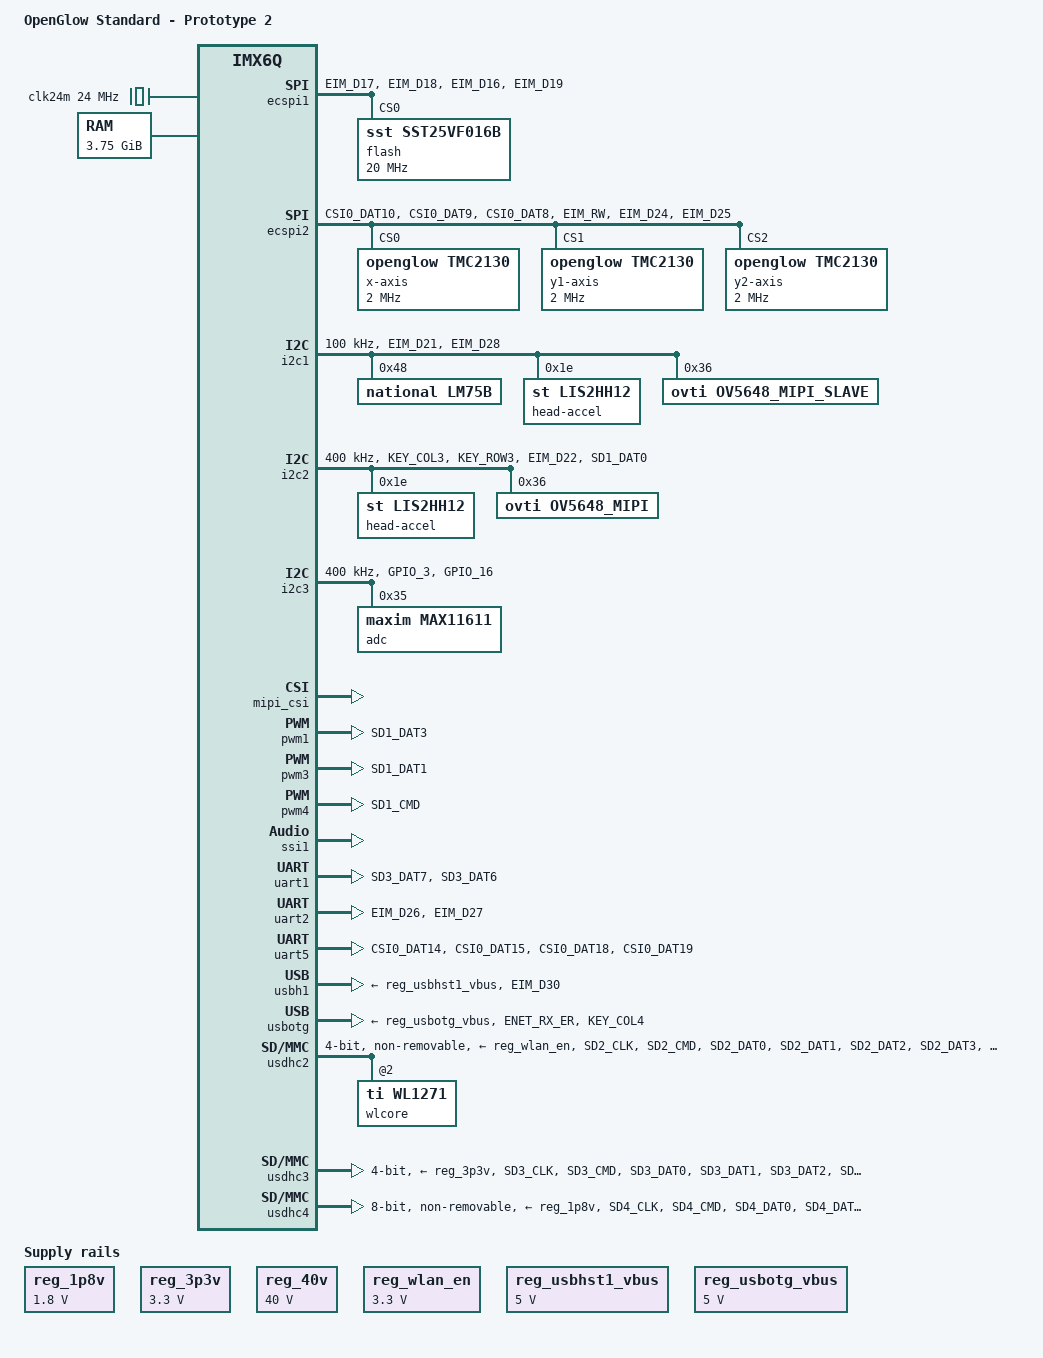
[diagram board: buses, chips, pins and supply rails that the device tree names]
/*
 * Copyright 2018 Scott Wiederhold <s.e.wiederhold@gmail.com>
 * Copyright 2012 Freescale Semiconductor, Inc.
 * Copyright 2011 Linaro Ltd.
 *
 * The code contained herein is licensed under the GNU General Public
 * License. You may obtain a copy of the GNU General Public License
 * Version 2 or later at the following locations:
 *
 * http://www.opensource.org/licenses/gpl-license.html
 * http://www.gnu.org/copyleft/gpl.html
 */

 /* PAD Control Definitions
  *
  * Be sure to check IMX6 DQ Reference Manual to verify each
  * PADs actual capability (i.e. GPIO00 - See Ch 36.4.376).
  * PAD Operating frequency is dependent on many factors (See Ch 28.4.2.3)
  *
  * For a better explanation, see Freescale AN5078
  * http://cache.freescale.com/files/32bit/doc/app_note/AN5078.pdf
  */
 /* Hysteresis */
 #define HYS            (1 << 16) /* OFF: CMOS Input, ON: Schmitt trigger Input */
 /* Pull Up/Keeper Mode Select */
 #define PUE            (1 << 13) /* OFF: Keeper, ON: Pull Up */
 /* Pull Up/Down - Value */
 #define PUS_22K_UP     (3 << 14)
 #define PUS_47K_UP     (1 << 14)
 #define PUS_100K_UP    (2 << 14)
 #define PUS_100K_DOWN  (0 << 14) /* Default */
 /* Pull Up/Keeper - Enable */
 #define PKE            (1 << 12) /* OFF: Disabled, ON: Enabled */
 /* Open Drain Enable */
 #define ODE            (1 << 11) /* OFF: CMOS output, ON: Open Drain */
 /* Speed - The range of this capability is PAD specific */
 #define SPEED_LOW      (0 << 6)
 #define SPEED_MED_LOW  (1 << 6)
 #define SPEED_MED_HIGH (2 << 6)
 #define SPEED_HIGH     (3 << 6)
 /* Drive Strength */
 #define DSE_DISABLE    (0 << 3) /* Default - HI-Z */
 #define DSE_33ohm      (7 << 3)
 #define DSE_40ohm      (6 << 3)
 #define DSE_50ohm      (5 << 3)
 #define DSE_60ohm      (4 << 3)
 #define DSE_90ohm      (3 << 3)
 #define DSE_130ohm     (2 << 3)
 #define DSE_260ohm     (1 << 3)
 /* Slew Rate */
 #define SRE_SLOW       (0 << 0) /* Default */
 #define SRE_FAST       (1 << 0)
 /* SION - Software Input On Field */
 #define SION       (1 << 30)

/dts-v1/;

#include <dt-bindings/gpio/gpio.h>
#include <dt-bindings/input/input.h>
#include "imx6q.dtsi"

/ {
	model = "OpenGlow Standard - Prototype 2";
	compatible = "openglow,openglow_std", "fsl,imx6q";
};

&iomuxc {
	pinctrl-names = "default";
	pinctrl-0 = <&pinctrl_hog>;

    openglow_std {
        pinctrl_hog: hog {
            fsl,pins = <
#define TP01_GPIO3_IO20     <&gpio3 20 GPIO_ACTIVE_HIGH>
                MX6QDL_PAD_EIM_D20__GPIO3_IO20     (HYS | PUE | PKE | PUS_100K_UP| SPEED_MED_HIGH | DSE_40ohm)
#define TP02_GPIO3_IO05     <&gpio3 5 GPIO_ACTIVE_HIGH>
                MX6QDL_PAD_EIM_DA5__GPIO3_IO05     (HYS | PUE | PKE | PUS_100K_UP| SPEED_MED_HIGH | DSE_40ohm)
#define TP03_GPIO3_IO03     <&gpio3 3 GPIO_ACTIVE_HIGH>
                MX6QDL_PAD_EIM_DA3__GPIO3_IO03     (HYS | PUE | PKE | PUS_100K_UP| SPEED_MED_HIGH | DSE_40ohm)
#define TP04_GPIO3_IO01     <&gpio3 1 GPIO_ACTIVE_HIGH>
                MX6QDL_PAD_EIM_DA1__GPIO3_IO01     (HYS | PUE | PKE | PUS_100K_UP| SPEED_MED_HIGH | DSE_40ohm)
#define TP05_GPIO2_IO25     <&gpio2 25 GPIO_ACTIVE_HIGH>
                MX6QDL_PAD_EIM_OE__GPIO2_IO25      (HYS | PUE | PKE | PUS_100K_UP| SPEED_MED_HIGH | DSE_40ohm)
#define TP06_GPIO2_IO04     <&gpio2 4 GPIO_ACTIVE_HIGH>
                MX6QDL_PAD_NANDF_D4__GPIO2_IO04    (HYS | PUE | PKE | PUS_100K_UP| SPEED_MED_HIGH | DSE_40ohm)
#define TP07_GPIO3_IO11     <&gpio3 11 GPIO_ACTIVE_HIGH>
                MX6QDL_PAD_EIM_DA11__GPIO3_IO11    (HYS | PUE | PKE | PUS_100K_UP| SPEED_MED_HIGH | DSE_40ohm)
#define TP08_GPIO3_IO10     <&gpio3 10 GPIO_ACTIVE_HIGH>
                MX6QDL_PAD_EIM_DA10__GPIO3_IO10    (HYS | PUE | PKE | PUS_100K_UP| SPEED_MED_HIGH | DSE_40ohm)
#define TP09_GPIO2_IO07     <&gpio2 7 GPIO_ACTIVE_HIGH>
                MX6QDL_PAD_NANDF_D7__GPIO2_IO07    (HYS | PUE | PKE | PUS_100K_UP| SPEED_MED_HIGH | DSE_40ohm)
#define TP10_GPIO3_IO09     <&gpio3 9 GPIO_ACTIVE_HIGH>
                MX6QDL_PAD_EIM_DA9__GPIO3_IO09     (HYS | PUE | PKE | PUS_100K_UP| SPEED_MED_HIGH | DSE_40ohm)
#define TP11_GPIO5_IO23     <&gpio5 23 GPIO_ACTIVE_HIGH>
                MX6QDL_PAD_CSI0_DAT5__GPIO5_IO23    (HYS | PUE | PKE | PUS_100K_UP| SPEED_MED_HIGH | DSE_40ohm)
            >;
        };

        pinctrl_bt_rfkill: bt-rfkillgrp {
            fsl,pins = <
#define BT_EN               <&gpio5 19 GPIO_ACTIVE_LOW>
                MX6QDL_PAD_CSI0_MCLK__GPIO5_IO19    (PUE | PKE | SPEED_MED_HIGH | DSE_40ohm)
            >;
        };

        /* SOM on-board Serial Flash */
        pinctrl_ecspi1: ecspi1grp {
            fsl,pins = <
                MX6QDL_PAD_EIM_D17__ECSPI1_MISO     (HYS | SPEED_MED_HIGH | DSE_40ohm | SRE_FAST)
                MX6QDL_PAD_EIM_D18__ECSPI1_MOSI     (HYS | SPEED_MED_HIGH | DSE_40ohm | SRE_FAST)
                MX6QDL_PAD_EIM_D16__ECSPI1_SCLK     (SPEED_MED_HIGH | DSE_40ohm | SRE_FAST)
#define ECSPI1_CS           <&gpio3 19 GPIO_ACTIVE_LOW>
                MX6QDL_PAD_EIM_D19__GPIO3_IO19      (PUS_100K_UP | PUE | PKE | SPEED_MED_HIGH | DSE_40ohm | SRE_FAST)
            >;
        };

        /* Stepper Drivers SPI Bus */
        pinctrl_ecspi2: ecspi2grp {
            fsl,pins = <
                MX6QDL_PAD_CSI0_DAT10__ECSPI2_MISO  (HYS | SPEED_MED_HIGH | DSE_40ohm | SRE_FAST)
                MX6QDL_PAD_CSI0_DAT9__ECSPI2_MOSI   (HYS | SPEED_MED_HIGH | DSE_40ohm | SRE_FAST)
                MX6QDL_PAD_CSI0_DAT8__ECSPI2_SCLK   (SPEED_MED_HIGH | DSE_40ohm | SRE_FAST)
#define ESPI2_SS0           <&gpio2 26 GPIO_ACTIVE_LOW> /* X-Stepper */
                MX6QDL_PAD_EIM_RW__GPIO2_IO26       (PUS_100K_UP | PUE | PKE | SPEED_MED_HIGH | DSE_40ohm | SRE_FAST)
#define ESPI2_SS2           <&gpio3 24 GPIO_ACTIVE_LOW> /* Y1-Stepper */
                MX6QDL_PAD_EIM_D24__GPIO3_IO24      (PUS_100K_UP | PUE | PKE | SPEED_MED_HIGH | DSE_40ohm | SRE_FAST)
#define ESPI2_SS3           <&gpio3 25 GPIO_ACTIVE_LOW> /* Y2-Stepper */
                MX6QDL_PAD_EIM_D25__GPIO3_IO25      (PUS_100K_UP | PUE | PKE | SPEED_MED_HIGH | DSE_40ohm | SRE_FAST)
            >;
        };

        /* GPIO - Aux I/O */
        pinctrl_gpio_aux: gpio-auxgrp {
            fsl,pins = <
#define AUXIO_1             <&gpio4 11 GPIO_ACTIVE_HIGH> /* AUX_IO01 */
                MX6QDL_PAD_KEY_ROW2__GPIO4_IO11    (HYS | PUE | PKE | PUS_100K_UP| SPEED_MED_HIGH | DSE_40ohm)
#define AUXIO_2             <&gpio3 12 GPIO_ACTIVE_HIGH> /* AUX_IO02 */
                MX6QDL_PAD_EIM_DA12__GPIO3_IO12    (HYS | PUE | PKE | PUS_100K_UP| SPEED_MED_HIGH | DSE_40ohm)
#define AUXIO_3             <&gpio1 1 GPIO_ACTIVE_HIGH> /* AUX_IO03 */
                MX6QDL_PAD_GPIO_1__GPIO1_IO01    (HYS | PUE | PKE | PUS_100K_UP| SPEED_MED_HIGH | DSE_40ohm)
#define AUXIO_4             <&gpio5 24 GPIO_ACTIVE_HIGH> /* AUX_IO04 */
                MX6QDL_PAD_CSI0_DAT6__GPIO5_IO24   (HYS | PUE | PKE | PUS_100K_UP| SPEED_MED_HIGH | DSE_40ohm)
#define AUXIO_5             <&gpio5 25 GPIO_ACTIVE_HIGH> /* AUX_IO05 */
                MX6QDL_PAD_CSI0_DAT7__GPIO5_IO25   (HYS | PUE | PKE | PUS_100K_UP| SPEED_MED_HIGH | DSE_40ohm)
#define AUXIO_6             <&gpio5 29 GPIO_ACTIVE_HIGH> /* AUX_IO06 */
                MX6QDL_PAD_CSI0_DAT11__GPIO5_IO29  (HYS | PUE | PKE | PUS_100K_UP| SPEED_MED_HIGH | DSE_40ohm)
#define AUXIO_7             <&gpio1 9 GPIO_ACTIVE_HIGH>  /* AUX_IO07 */
                MX6QDL_PAD_GPIO_9__GPIO1_IO09  (HYS | PUE | PKE | PUS_100K_UP| SPEED_MED_HIGH | DSE_40ohm)
#define AUXIO_8             <&gpio7 13 GPIO_ACTIVE_HIGH>  /* AUX_IO08 */
                MX6QDL_PAD_GPIO_18__GPIO7_IO13  (HYS | PUE | PKE | PUS_100K_UP| SPEED_MED_HIGH | DSE_40ohm)
            >;
        };

        /* OPENGLOW - CNC */
        pinctrl_cnc: gpio-cncgrp {
            fsl,pins = <
#define FIRE            <&gpio7 12 GPIO_ACTIVE_HIGH> /* FIRE LASER - OUT */
                MX6QDL_PAD_GPIO_17__GPIO7_IO12      (PUS_100K_UP | PUE | PKE | SPEED_MED_HIGH | DSE_40ohm | SRE_FAST)
#define BEAM_DET_EN     <&gpio7 0 GPIO_ACTIVE_HIGH>  /* LASER ON HEAD NOTIFICATION - OUT */
                MX6QDL_PAD_SD3_DAT5__GPIO7_IO00     (PUS_100K_UP | PUE | PKE | SPEED_MED_HIGH | DSE_40ohm | SRE_FAST)
#define HV_WDOG         <&gpio3 0 GPIO_ACTIVE_HIGH>  /* LASER PWR WATCH DOG */
                MX6QDL_PAD_EIM_DA0__GPIO3_IO00      (PUS_100K_UP | PUE | PKE | SPEED_MED_HIGH | DSE_40ohm | SRE_FAST)
#define HV_OK           <&gpio2 1 GPIO_ACTIVE_HIGH>  /* HV_OK - IN */
                MX6QDL_PAD_NANDF_D1__GPIO2_IO01    (HYS | SPEED_MED_HIGH | DSE_40ohm)
#define INTERLOCK       <&gpio3 7 GPIO_ACTIVE_HIGH>  /* INTERLOCK - IN */
                MX6QDL_PAD_EIM_DA7__GPIO3_IO07     (HYS | SPEED_MED_HIGH | DSE_40ohm)
#define LID_SW1         <&gpio3 4 GPIO_ACTIVE_HIGH>  /* LID_SW1 - IN */
                MX6QDL_PAD_EIM_DA4__GPIO3_IO04     (HYS | SPEED_MED_HIGH | DSE_40ohm)
#define LID_SW2         <&gpio3 31 GPIO_ACTIVE_HIGH> /* LID_SW2 - IN */
                MX6QDL_PAD_EIM_D31__GPIO3_IO31     (HYS | SPEED_MED_HIGH | DSE_40ohm)
#define nBUTTON         <&gpio3 8 GPIO_ACTIVE_LOW>  /* BUTTON - IN */
                MX6QDL_PAD_EIM_DA8__GPIO3_IO08     (HYS | SPEED_MED_HIGH | DSE_40ohm)
#define nSTEP_EN        <&gpio5 30 GPIO_ACTIVE_LOW>  /* XY_STEP_EN - OUT */
                MX6QDL_PAD_CSI0_DAT12__GPIO5_IO30   (PUS_100K_UP | PUE | PKE | SPEED_MED_HIGH | DSE_40ohm)
#define OK_2_FIRE       <&gpio3 29 GPIO_ACTIVE_HIGH> /* OK_2_FIRE - IN */
                MX6QDL_PAD_EIM_D29__GPIO3_IO29     (HYS | SPEED_MED_HIGH | DSE_40ohm)
#define X_DIR           <&gpio6 14 GPIO_ACTIVE_HIGH> /* X_DIR - OUT */
                MX6QDL_PAD_NANDF_CS1__GPIO6_IO14    (PUS_100K_UP | PUE | PKE | SPEED_MED_HIGH | DSE_40ohm | SRE_FAST)
#define X_STEP          <&gpio6 15 GPIO_ACTIVE_HIGH> /* X_STEP - OUT */
                MX6QDL_PAD_NANDF_CS2__GPIO6_IO15    (PUS_100K_UP | PUE | PKE | SPEED_MED_HIGH | DSE_40ohm | SRE_FAST)
#define X_DIAG0         <&gpio5 22 GPIO_ACTIVE_HIGH> /* X_DIAG0 - IN */
                MX6QDL_PAD_CSI0_DAT4__GPIO5_IO22    (PUS_47K_UP | PUE | PKE | SPEED_MED_HIGH | DSE_40ohm | SRE_FAST)
#define X_DIAG1         <&gpio5 21 GPIO_ACTIVE_HIGH> /* X_DIAG1 - IN */
                MX6QDL_PAD_CSI0_VSYNC__GPIO5_IO21   (PUS_47K_UP | PUE | PKE | SPEED_MED_HIGH | DSE_40ohm | SRE_FAST)
#define Y1_DIR          <&gpio6 2 GPIO_ACTIVE_HIGH>  /* Y1_DIR - OUT */
                MX6QDL_PAD_CSI0_DAT16__GPIO6_IO02   (PUS_100K_UP | PUE | PKE | SPEED_MED_HIGH | DSE_40ohm | SRE_FAST)
#define Y1_STEP         <&gpio6 3 GPIO_ACTIVE_HIGH>  /* Y1_STEP - OUT */
                MX6QDL_PAD_CSI0_DAT17__GPIO6_IO03   (PUS_100K_UP | PUE | PKE | SPEED_MED_HIGH | DSE_40ohm | SRE_FAST)
#define Y1_DIAG0        <&gpio4 5 GPIO_ACTIVE_HIGH>  /* Y1_DIAG0 - IN */
                MX6QDL_PAD_GPIO_19__GPIO4_IO05      (PUS_47K_UP | PUE | PKE | SPEED_MED_HIGH | DSE_40ohm | SRE_FAST)
#define Y1_DIAG1        <&gpio1 5 GPIO_ACTIVE_HIGH>  /* Y1_DIAG1 - IN */
                MX6QDL_PAD_GPIO_5__GPIO1_IO05       (PUS_47K_UP | PUE | PKE | SPEED_MED_HIGH | DSE_40ohm | SRE_FAST)
#define Y2_DIR          <&gpio6 7 GPIO_ACTIVE_HIGH>  /* Y2_DIR - OUT */
                MX6QDL_PAD_NANDF_CLE__GPIO6_IO07    (PUS_100K_UP | PUE | PKE | SPEED_MED_HIGH | DSE_40ohm | SRE_FAST)
#define Y2_STEP         <&gpio6 9 GPIO_ACTIVE_HIGH>  /* Y2_STEP - OUT */
                MX6QDL_PAD_NANDF_WP_B__GPIO6_IO09   (PUS_100K_UP | PUE | PKE | SPEED_MED_HIGH | DSE_40ohm | SRE_FAST)
#define Y2_DIAG0        <&gpio5 18 GPIO_ACTIVE_HIGH> /* Y2_DIAG0 - IN */
                MX6QDL_PAD_CSI0_PIXCLK__GPIO5_IO18  (PUS_47K_UP | PUE | PKE | SPEED_MED_HIGH | DSE_40ohm | SRE_FAST)
#define Y2_DIAG1        <&gpio5 31 GPIO_ACTIVE_HIGH> /* Y2_DIAG1 - IN */
                MX6QDL_PAD_CSI0_DAT13__GPIO5_IO31   (PUS_47K_UP | PUE | PKE | SPEED_MED_HIGH | DSE_40ohm | SRE_FAST)
#define Z_DIR           <&gpio6 16 GPIO_ACTIVE_HIGH> /* Z_DIR - OUT */
                MX6QDL_PAD_NANDF_CS3__GPIO6_IO16    (PUS_100K_UP | PUE | PKE | SPEED_MED_HIGH | DSE_40ohm | SRE_FAST)
#define Z_STEP          <&gpio6 11 GPIO_ACTIVE_HIGH> /* Z_STEP - OUT */
                MX6QDL_PAD_NANDF_CS0__GPIO6_IO11    (PUS_100K_UP | PUE | PKE | SPEED_MED_HIGH | DSE_40ohm | SRE_FAST)
            >;
        };

        /* GPIO - Power */
        pinctrl_gpio_power: gpio-powergrp {
            fsl,pins = <
#define PWR_12VDC_EN        <&gpio2 2 GPIO_ACTIVE_HIGH> /* 12VDC_EN - OUT */
                MX6QDL_PAD_NANDF_D2__GPIO2_IO02    (PUS_100K_UP | PUE | PKE | SPEED_MED_HIGH | DSE_40ohm)
#define PWR_12VDC_OK        <&gpio2 3 GPIO_ACTIVE_HIGH> /* 12VDC_OK - IN */
                MX6QDL_PAD_NANDF_D3__GPIO2_IO03      (HYS | PUE | PKE)
            >;
        };

        /* GPIO - Power 40 V */
        pinctrl_gpio_power_40v: gpio-power40vgrp {
            fsl,pins = <
#define PWR_40VDC_EN        <&gpio3 2 GPIO_ACTIVE_HIGH> /* 40VDC_EN - OUT */
                MX6QDL_PAD_EIM_DA2__GPIO3_IO02    (PUS_100K_UP | PUE | PKE | SPEED_MED_HIGH | DSE_40ohm)
#define PWR_40VDC_OK        <&gpio2 6 GPIO_ACTIVE_HIGH> /* 40VDC_OK - IN */
                MX6QDL_PAD_NANDF_D6__GPIO2_IO06      (HYS | PUE | PKE)
            >;
        };

        /* GPIO - Thermal */
        pinctrl_gpio_thermal: gpio-thermalgrp {
            fsl,pins = <
#define TEC_EN  <&gpio2 23 GPIO_ACTIVE_HIGH> /* TEC_EN - OUT */
                MX6QDL_PAD_EIM_CS0__GPIO2_IO23     (SION | PUS_100K_UP | PUE | PKE | SPEED_MED_HIGH | DSE_40ohm)
#define WATER_PUMP_EN   <&gpio3 23 GPIO_ACTIVE_HIGH> /* WTR_PMP_EN - OUT */
                MX6QDL_PAD_EIM_D23__GPIO3_IO23     (SION | PUS_100K_UP | PUE | PKE | SPEED_MED_HIGH | DSE_40ohm)
            >;
        };

        /* Interconnect I2C Bus */
        pinctrl_i2c1: i2c1grp {
            fsl,pins = <
                MX6QDL_PAD_EIM_D21__I2C1_SCL      (SION | HYS | PUS_100K_UP | PUE | PKE | ODE | SPEED_MED_HIGH | DSE_40ohm | SRE_FAST)
                MX6QDL_PAD_EIM_D28__I2C1_SDA      (SION | HYS | PUS_100K_UP | PUE | PKE | ODE | SPEED_MED_HIGH | DSE_40ohm | SRE_FAST)
            >;
        };

        /* Lid I2C Bus */
        pinctrl_i2c2: i2c2grp {
            fsl,pins = <
                MX6QDL_PAD_KEY_COL3__I2C2_SCL      (SION | HYS | PUS_100K_UP | PUE | PKE | ODE | SPEED_MED_HIGH | DSE_40ohm | SRE_FAST)
                MX6QDL_PAD_KEY_ROW3__I2C2_SDA      (SION | HYS | PUS_100K_UP | PUE | PKE | ODE | SPEED_MED_HIGH | DSE_40ohm | SRE_FAST)
#define CSI_SEL    <&gpio3 22 GPIO_ACTIVE_HIGH> /* CAM_SEL */
                MX6QDL_PAD_EIM_D22__GPIO3_IO22   (PUS_100K_UP | PUE | PKE | SPEED_MED_HIGH | DSE_40ohm | SRE_FAST)
#define CSI_EN     <&gpio1 16 GPIO_ACTIVE_HIGH> /* CSI SWITCH ENABLE - OUT */
                MX6QDL_PAD_SD1_DAT0__GPIO1_IO16    (PUS_100K_UP | PUE | PKE | SPEED_MED_HIGH | DSE_40ohm)
            >;
        };

        /* Control I2C Bus */
        pinctrl_i2c3: i2c3grp {
            fsl,pins = <
                MX6QDL_PAD_GPIO_3__I2C3_SCL       (SION | HYS | PUS_100K_UP | PUE | PKE | ODE | SPEED_MED_HIGH | DSE_40ohm | SRE_FAST)
                MX6QDL_PAD_GPIO_16__I2C3_SDA      (SION | HYS | PUS_100K_UP | PUE | PKE | ODE | SPEED_MED_HIGH | DSE_40ohm | SRE_FAST)
            >;
        };

        /* PWM1_LASER */
        pinctrl_pwm1: pwm1grp {
            fsl,pins = <
                MX6QDL_PAD_SD1_DAT3__PWM1_OUT     (PUE | PKE | SPEED_MED_HIGH | DSE_40ohm | SRE_FAST)
            >;
        };

        /* PWM3_WATER_HTR */
        pinctrl_pwm3: pwm3grp {
            fsl,pins = <
                MX6QDL_PAD_SD1_DAT1__PWM3_OUT   (PUE | PKE | SPEED_MED_HIGH | DSE_40ohm | SRE_FAST)
            >;
        };

        /* PWM4_LID_LED */
        pinctrl_pwm4: pwm4grp {
            fsl,pins = <
                MX6QDL_PAD_SD1_CMD__PWM4_OUT    (PUE | PKE | SPEED_MED_HIGH | DSE_40ohm | SRE_FAST)
            >;
        };

        /* UART1 - USB Console TTYMXC0 */
        pinctrl_uart1: uart1grp {
            fsl,pins = <
                MX6QDL_PAD_SD3_DAT7__UART1_TX_DATA  (HYS | PUS_100K_UP | PUE | PKE | SPEED_MED_HIGH | DSE_40ohm | SRE_FAST)
                MX6QDL_PAD_SD3_DAT6__UART1_RX_DATA  (HYS | PUS_100K_UP | PUE | PKE | SPEED_MED_HIGH | DSE_40ohm | SRE_FAST)
            >;
        };

        /* UART2 - Filter TTYMXC1 */
        pinctrl_uart2: uart2grp {
            fsl,pins = <
                MX6QDL_PAD_EIM_D26__UART2_TX_DATA  (HYS | PUS_100K_UP | PUE | PKE | SPEED_MED_HIGH | DSE_40ohm | SRE_FAST)
                MX6QDL_PAD_EIM_D27__UART2_RX_DATA  (HYS | PUS_100K_UP | PUE | PKE | SPEED_MED_HIGH | DSE_40ohm | SRE_FAST)
            >;
        };

        /* UART5 - Bluetooth TTYMXC4*/
        pinctrl_uart5: uart5grp {
            fsl,pins = <
                MX6QDL_PAD_CSI0_DAT14__UART5_TX_DATA (HYS | PUS_100K_UP | PUE | PKE | SPEED_MED_HIGH | DSE_40ohm | SRE_FAST)
                MX6QDL_PAD_CSI0_DAT15__UART5_RX_DATA (HYS | PUS_100K_UP | PUE | PKE | SPEED_MED_HIGH | DSE_40ohm | SRE_FAST)
                MX6QDL_PAD_CSI0_DAT18__UART5_RTS_B   (HYS | PUS_100K_UP | PUE | PKE | SPEED_MED_HIGH | DSE_40ohm | SRE_FAST)
                MX6QDL_PAD_CSI0_DAT19__UART5_CTS_B   (HYS | PUS_100K_UP | PUE | PKE | SPEED_MED_HIGH | DSE_40ohm | SRE_FAST)
            >;
        };

        /* USB HOST 1 */
        pinctrl_usbhst1: usbhst1grp {
        	fsl,pins = <
        		MX6QDL_PAD_EIM_D30__USB_H1_OC		0x1b0b0 /* USB_HOST_OC */
        	>;
        };
        pinctrl_reg_usbhst1_vbus: reg-usbhst1-vbusgrp {
        	fsl,pins = <
#define USB_HOST_PWR_EN	<&gpio4 10 GPIO_ACTIVE_HIGH>
        		MX6QDL_PAD_KEY_COL2__GPIO4_IO10		0x030b0
        	>;
        };
        /* USB OTG */
        pinctrl_usbotg: usbotggrp {
        	fsl,pins = <
        		MX6QDL_PAD_ENET_RX_ER__USB_OTG_ID		0x17059
        		MX6QDL_PAD_KEY_COL4__USB_OTG_OC		0x1b0b0
        	>;
        };
        pinctrl_reg_usbotg_vbus: reg-usbotg-vbusgrp {
        	fsl,pins = <
#define USB_OTG_PWR_EN	<&gpio1 0 GPIO_ACTIVE_HIGH>
        		MX6QDL_PAD_GPIO_0__GPIO1_IO00		0x030b0
        	>;
        };

        /* uSDHC2 - Wireless module */
        pinctrl_usdhc2: usdhc2grp {
            fsl,pins = <
                MX6QDL_PAD_SD2_CLK__SD2_CLK         (HYS | SPEED_MED_LOW | DSE_40ohm | SRE_FAST)
                MX6QDL_PAD_SD2_CMD__SD2_CMD         (HYS | PUS_47K_UP | PUE | PKE | SPEED_MED_LOW | DSE_40ohm | SRE_FAST)
                MX6QDL_PAD_SD2_DAT0__SD2_DATA0      (HYS | PUS_47K_UP | PUE | PKE | SPEED_MED_LOW | DSE_40ohm | SRE_FAST)
                MX6QDL_PAD_SD2_DAT1__SD2_DATA1      (HYS | PUS_47K_UP | PUE | PKE | SPEED_MED_LOW | DSE_40ohm | SRE_FAST)
                MX6QDL_PAD_SD2_DAT2__SD2_DATA2      (HYS | PUS_47K_UP | PUE | PKE | SPEED_MED_LOW | DSE_40ohm | SRE_FAST)
                MX6QDL_PAD_SD2_DAT3__SD2_DATA3      (HYS | PUS_47K_UP | PUE | PKE | SPEED_MED_LOW | DSE_40ohm | SRE_FAST)
                MX6QDL_PAD_SD1_CLK__OSC32K_32K_OUT  (SPEED_MED_HIGH | DSE_40ohm)
#define WLAN_IRQ        <&gpio5 20 IRQ_TYPE_LEVEL_HIGH>
                MX6QDL_PAD_CSI0_DATA_EN__GPIO5_IO20    (HYS | SPEED_MED_HIGH | DSE_40ohm)
            >;
        };

        pinctrl_usdhc2_100mhz: usdhc2grp-100mhz {
            fsl,pins = <
                MX6QDL_PAD_SD2_CMD__SD2_CMD         (HYS | PUS_47K_UP | PUE | PKE | SPEED_MED_HIGH | DSE_40ohm | SRE_FAST)
                MX6QDL_PAD_SD2_CLK__SD2_CLK         (HYS | SPEED_MED_HIGH | DSE_40ohm | SRE_FAST)
                MX6QDL_PAD_SD2_DAT0__SD2_DATA0      (HYS | PUS_47K_UP | PUE | PKE | SPEED_MED_HIGH | DSE_40ohm | SRE_FAST)
                MX6QDL_PAD_SD2_DAT1__SD2_DATA1      (HYS | PUS_47K_UP | PUE | PKE | SPEED_MED_HIGH | DSE_40ohm | SRE_FAST)
                MX6QDL_PAD_SD2_DAT2__SD2_DATA2      (HYS | PUS_47K_UP | PUE | PKE | SPEED_MED_HIGH | DSE_40ohm | SRE_FAST)
                MX6QDL_PAD_SD2_DAT3__SD2_DATA3      (HYS | PUS_47K_UP | PUE | PKE | SPEED_MED_HIGH | DSE_40ohm | SRE_FAST)
            >;
        };

        pinctrl_usdhc2_200mhz: usdhc2grp-200mhz {
            fsl,pins = <
                MX6QDL_PAD_SD2_CMD__SD2_CMD         (HYS | PUS_47K_UP | PUE | PKE | SPEED_HIGH | DSE_33ohm | SRE_FAST)
                MX6QDL_PAD_SD2_CLK__SD2_CLK         (HYS | SPEED_HIGH | DSE_33ohm | SRE_FAST)
                MX6QDL_PAD_SD2_DAT0__SD2_DATA0      (HYS | PUS_47K_UP | PUE | PKE | SPEED_HIGH | DSE_33ohm | SRE_FAST)
                MX6QDL_PAD_SD2_DAT1__SD2_DATA1      (HYS | PUS_47K_UP | PUE | PKE | SPEED_HIGH | DSE_33ohm | SRE_FAST)
                MX6QDL_PAD_SD2_DAT2__SD2_DATA2      (HYS | PUS_47K_UP | PUE | PKE | SPEED_HIGH | DSE_33ohm | SRE_FAST)
                MX6QDL_PAD_SD2_DAT3__SD2_DATA3      (HYS | PUS_47K_UP | PUE | PKE | SPEED_HIGH | DSE_33ohm | SRE_FAST)
            >;
        };

        /* uSDHC3 - /dev/mmcblk0 - SD Card Slot */
        pinctrl_usdhc3: usdhc3grp {
            fsl,pins = <
                MX6QDL_PAD_SD3_CLK__SD3_CLK         (HYS | SPEED_MED_LOW | DSE_40ohm | SRE_FAST)
                MX6QDL_PAD_SD3_CMD__SD3_CMD         (HYS | PUS_47K_UP | PUE | PKE | SPEED_MED_LOW | DSE_40ohm | SRE_FAST)
                MX6QDL_PAD_SD3_DAT0__SD3_DATA0      (HYS | PUS_47K_UP | PUE | PKE | SPEED_MED_LOW | DSE_40ohm | SRE_FAST)
                MX6QDL_PAD_SD3_DAT1__SD3_DATA1      (HYS | PUS_47K_UP | PUE | PKE | SPEED_MED_LOW | DSE_40ohm | SRE_FAST)
                MX6QDL_PAD_SD3_DAT2__SD3_DATA2      (HYS | PUS_47K_UP | PUE | PKE | SPEED_MED_LOW | DSE_40ohm | SRE_FAST)
                MX6QDL_PAD_SD3_DAT3__SD3_DATA3      (HYS | PUS_47K_UP | PUE | PKE | SPEED_MED_LOW | DSE_40ohm | SRE_FAST)
#define SD3_CD      <&gpio3 6 GPIO_ACTIVE_LOW>
                MX6QDL_PAD_EIM_DA6__GPIO3_IO06     (HYS | PUS_100K_UP | PUE | PKE | SPEED_MED_HIGH | DSE_40ohm)
            >;
        };

        /* uSDHC4 - /dev/mmcblk1 - SOM on-board MMC */
        pinctrl_usdhc4: usdhc4grp {
            fsl,pins = <
                MX6QDL_PAD_SD4_CLK__SD4_CLK         (HYS | SPEED_MED_LOW | DSE_90ohm | SRE_FAST)
                MX6QDL_PAD_SD4_CMD__SD4_CMD         (HYS | PUS_47K_UP | PUE | PKE | SPEED_MED_LOW | DSE_90ohm | SRE_FAST)
                MX6QDL_PAD_SD4_DAT0__SD4_DATA0      (HYS | PUS_47K_UP | PUE | PKE | SPEED_MED_LOW | DSE_90ohm | SRE_FAST)
                MX6QDL_PAD_SD4_DAT1__SD4_DATA1      (HYS | PUS_47K_UP | PUE | PKE | SPEED_MED_LOW | DSE_90ohm | SRE_FAST)
                MX6QDL_PAD_SD4_DAT2__SD4_DATA2      (HYS | PUS_47K_UP | PUE | PKE | SPEED_MED_LOW | DSE_90ohm | SRE_FAST)
                MX6QDL_PAD_SD4_DAT3__SD4_DATA3      (HYS | PUS_47K_UP | PUE | PKE | SPEED_MED_LOW | DSE_90ohm | SRE_FAST)
                MX6QDL_PAD_SD4_DAT4__SD4_DATA4      (HYS | PUS_47K_UP | PUE | PKE | SPEED_MED_LOW | DSE_90ohm | SRE_FAST)
                MX6QDL_PAD_SD4_DAT5__SD4_DATA5      (HYS | PUS_47K_UP | PUE | PKE | SPEED_MED_LOW | DSE_90ohm | SRE_FAST)
                MX6QDL_PAD_SD4_DAT6__SD4_DATA6      (HYS | PUS_47K_UP | PUE | PKE | SPEED_MED_LOW | DSE_90ohm | SRE_FAST)
                MX6QDL_PAD_SD4_DAT7__SD4_DATA7      (HYS | PUS_47K_UP | PUE | PKE | SPEED_MED_LOW | DSE_90ohm | SRE_FAST)
#define SD4_RESET   <&gpio2 0 GPIO_ACTIVE_LOW>
                MX6QDL_PAD_NANDF_D0__GPIO2_IO00     (HYS | PUS_100K_UP | PUE | PKE | SPEED_MED_HIGH | DSE_40ohm) /* RESET */
            >;
        };

        /* WL_EN */
        pinctrl_reg_wlan_en: reg-wlan-engrp {
            fsl,pins = <
#define WL_EN       <&gpio1 2 GPIO_ACTIVE_HIGH>
                MX6QDL_PAD_GPIO_2__GPIO1_IO02 (PUE | PKE | SPEED_MED_HIGH | DSE_40ohm)
            >;
        };
    };
};

/ {
	aliases {
		mmc0 = &usdhc3;
		mmc1 = &usdhc4;
		mmc2 = &usdhc2;
	};

    bt_rfkill {
		compatible = "net,rfkill-gpio";
		pinctrl-names = "default";
		pinctrl-0 = <&pinctrl_bt_rfkill>;
		name = "bt_rfkill";
		type = <2>;	/* bluetooth */
		reset-gpios = BT_EN;
	};

	clocks {
		clk24m: clk24m {
			compatible = "fixed-clock";
			#clock-cells = <0>;
			clock-frequency = <24000000>;
		};
	};

	memory {
		reg = <0x10000000 0xeffffc00>;
	};

    openglow-aux {
        compatible = "openglow,aux";
        pinctrl-names = "default";
        pinctrl-0 = <&pinctrl_gpio_aux>;
        aux01-gpio = AUXIO_1;
        aux02-gpio = AUXIO_2;
        aux03-gpio = AUXIO_3;
        aux04-gpio = AUXIO_4;
        aux05-gpio = AUXIO_5;
        aux06-gpio = AUXIO_6;
        aux07-gpio = AUXIO_7;
        aux08-gpio = AUXIO_8;
    };

    openglow-cnc {
          compatible = "openglow,cnc";
          pinctrl-names = "default";
          pinctrl-0 = <&pinctrl_cnc>;
          xy-enable-gpio     = nSTEP_EN;
          x-step-gpio        = X_STEP;
          x-dir-gpio         = X_DIR;
          y1-step-gpio       = Y1_STEP;
          y1-dir-gpio        = Y1_DIR;
          y2-step-gpio       = Y2_STEP;
          y2-dir-gpio        = Y2_DIR;
          z-step-gpio        = Z_STEP;
          z-dir-gpio         = Z_DIR;
          laser-enable-gpio  = FIRE;
          laser-on-head-gpio = BEAM_DET_EN;
          charge-pump-gpio   = HV_WDOG;
          laser-pwm          = <0>;
          timer              = <&epit1>;
          sdma-params        = <26 0xe00>; /* SDMA Channel, Script Offset */
          };
	openglow-hog {
		compatible = "openglow,hog";
		pinctrl-names = "default";
		pinctrl-0 = <&pinctrl_hog>;
    };

	openglow-power {
		compatible = "openglow,power";
		pinctrl-names = "default";
		pinctrl-0 = <&pinctrl_gpio_power>;
        power-12v-en-gpio = PWR_12VDC_EN;
        power-12v-ok-gpio = PWR_12VDC_OK;
        power-40v-en-gpio = PWR_40VDC_EN;
        power-40v-ok-gpio = PWR_40VDC_OK;
    };

    openglow-thermal {
        compatible = "openglow,thermal";
        pinctrl-names     = "default";
        pinctrl-0         = <&pinctrl_gpio_thermal>;
        tec-gpio          = TEC_EN;
        water-pump-gpio   = WATER_PUMP_EN;
    };
    regulators {
		compatible = "simple-bus";
		#address-cells = <1>;
		#size-cells = <0>;

		reg_1p8v: regulator@0 {
			compatible = "regulator-fixed";
			reg = <0>;
			regulator-name = "1P8V";
			regulator-min-microvolt = <1800000>;
			regulator-max-microvolt = <1800000>;
			regulator-always-on;
		};

		reg_3p3v: regulator@2 {
			compatible = "regulator-fixed";
			reg = <2>;
			regulator-name = "3P3V";
			regulator-min-microvolt = <3300000>;
			regulator-max-microvolt = <3300000>;
			regulator-always-on;
		};

        reg_40v: 40v {
            compatible = "regulator-fixed";
            reg = <3>;
            pinctrl-names = "default";
            pinctrl-0 = <&pinctrl_gpio_power_40v>;
            gpio = PWR_40VDC_EN;
            regulator-name = "40v";
            regulator-min-microvolt = <40000000>;
            regulator-max-microvolt = <40000000>;
            enable-active-high;
		};

        reg_wlan_en: regulator@3 {
			compatible = "regulator-fixed";
			reg = <4>;
			pinctrl-names = "default";
			pinctrl-0 = <&pinctrl_reg_wlan_en>;
			regulator-name = "wlan-en";
			regulator-min-microvolt = <3300000>;
			regulator-max-microvolt = <3300000>;
			gpio = WL_EN;
			startup-delay-us = <70000>;
			enable-active-high;
		};

		reg_usbhst1_vbus: regulator@4 {
			compatible = "regulator-fixed";
			reg = <5>;
			pinctrl-names = "default";
			pinctrl-0 = <&pinctrl_reg_usbhst1_vbus>;
			regulator-name = "usb_host_vbus";
			regulator-min-microvolt = <5000000>;
			regulator-max-microvolt = <5000000>;
			gpio = USB_HOST_PWR_EN;
			enable-active-high;
		};

		reg_usbotg_vbus: regulator@5 {
			compatible = "regulator-fixed";
			reg = <6>;
			pinctrl-names = "default";
			pinctrl-0 = <&pinctrl_reg_usbotg_vbus>;
			regulator-name = "usb_otg_vbus";
			regulator-min-microvolt = <5000000>;
			regulator-max-microvolt = <5000000>;
			gpio = USB_OTG_PWR_EN;
			enable-active-high;
		};


	};

	v4l2_cap_0 {
		compatible = "fsl,imx6q-v4l2-capture";
		ipu_id = <0>;
		csi_id = <1>;
		mclk_source = <0>;
		mipi_camera = <1>;
		default_input = <1>;
		status = "okay";
	};

	v4l2_out {
		compatible = "fsl,mxc_v4l2_output";
		status = "okay";
	};
};

&ecspi1 {
	pinctrl-names = "default";
	pinctrl-0 = <&pinctrl_ecspi1>;
	fsl,spi-num-chipselects = <1>;
	cs-gpios = ECSPI1_CS;
	status = "okay";

	flash: m25p80@0 {
		compatible = "sst,sst25vf016b";
		spi-max-frequency = <20000000>;
		reg = <0>;
		#address-cells = <1>;
		#size-cells = <1>;
		mtd@00000000 {
			label = "U-Boot";
			reg = <0x0 0xC0000>;
		};

		mtd@000C0000 {
			label = "env";
			reg = <0xC0000 0x2000>;
		};
		mtd@000C2000 {
			label = "splash";
			reg = <0xC2000 0x13e000>;
		};
	};
};

&ecspi2 {
	pinctrl-names = "default";
	pinctrl-0 = <&pinctrl_ecspi2>;
	fsl,spi-num-chipselects = <3>;
	cs-gpios = ESPI2_SS0, ESPI2_SS2, ESPI2_SS3;
	status = "okay";

	x-axis@0 {
		compatible = "openglow,tmc2130";
		spi-max-frequency = <2000000>;
        spi-cpha=<1>;
        spi-cpol=<1>;
        reg = <0>;
	};
	y1-axis@1 {
		compatible = "openglow,tmc2130";
		spi-max-frequency = <2000000>;
        spi-cpha=<1>;
        spi-cpol=<1>;
		reg = <1>;
	};
	y2-axis@2 {
		compatible = "openglow,tmc2130";
		spi-max-frequency = <2000000>;
        spi-cpha=<1>;
        spi-cpol=<1>;
		reg = <2>;
	};
};

&epit1 {
    compatible = "fsl,imx6qdl-epit";
    id = <0>;
    clocks = <&clks IMX6QDL_CLK_EPIT1>;
    clock-names = "epit1";
    sdma-event = <16>;
};

/* Interconnect */
&i2c1 {
	clock-frequency = <100000>;
	pinctrl-names = "default";
	pinctrl-0 = <&pinctrl_i2c1>;
	status = "okay";

    /* INTERCONNECT TEMP SENSOR */
    lm75b@48 {
        reg = <0x48>;
        compatible = "national,lm75b";
    };

    /* HEAD ACCELEROMETER */
    head-accel@1e {
        reg = <0x1e>;
        compatible = "st,lis2hh12";
    };

    /* HEAD CAMERA */
    ov5648_mipi_slave@36 {
		compatible = "ovti,ov5648_mipi_slave";
		reg = <0x36>;
		clocks = <&clks 0>;
		clock-names = "csi_mclk";
		ipu_id = <0>;
		csi_id = <1>;
		mclk = <25000000>;
		mclk_source = <0>;
		extended-buffer;
	};
};

/* LID */
&i2c2 {
	clock-frequency = <400000>;
	pinctrl-names = "default";
	pinctrl-0 = <&pinctrl_i2c2>;
	status = "okay";

    /* LID ACCELEROMETER */
    head-accel@1e {
        reg = <0x1e>;
        compatible = "st,lis2hh12";
    };

    /* LID CAMERA */
    ov5648_mipi@36 {
		compatible = "ovti,ov5648_mipi";
		reg = <0x36>;
		clocks = <&clks 0>;
		clock-names = "csi_mclk";
		sel-gpios = CSI_SEL;
		default-state = "off"; /* off=camera A, on=camera B */
		ipu_id = <0>;
		csi_id = <1>;
		mclk = <25000000>;
		mclk_source = <0>;
		pinctrl-names = "default";
		extended-buffer;
	};
};

/* Control */
&i2c3 {
	clock-frequency = <400000>;
	pinctrl-names = "default";
	pinctrl-0 = <&pinctrl_i2c3>;
	status = "okay";

    /* CONTROL ADC */
    adc: max11611@35 {
    	compatible = "maxim,max11611";
    	reg = <0x35>;
    };
};

&mipi_csi {
    ipu_id = <0>;
    csi_id = <1>;
    v_channel = <0>;
    lanes = <2>;
    mipi_dphy_clk = <0x28>;
    status = "okay";
};

&pwm1 {
	pinctrl-names = "default";
	pinctrl-0 = <&pinctrl_pwm1>;
	status = "okay";
};

&pwm3 {
	pinctrl-names = "default";
	pinctrl-0 = <&pinctrl_pwm3>;
	status = "okay";
    fsl,extra-prescale = <13>;
};

&pwm4 {
	pinctrl-names = "default";
	pinctrl-0 = <&pinctrl_pwm4>;
	status = "okay";
};

&ssi1 {
	fsl,mode = "i2s-slave";
	status = "okay";
};

&uart1 {
	pinctrl-names = "default";
	pinctrl-0 = <&pinctrl_uart1>;
	status = "okay";
};

&uart2 {
	pinctrl-names = "default";
	pinctrl-0 = <&pinctrl_uart2>;
	status = "okay";
};

&uart5 {
	pinctrl-names = "default";
	pinctrl-0 = <&pinctrl_uart5>;
    uart-has-rtscts;
	status = "okay";
};

&usbh1 {
	vbus-supply = <&reg_usbhst1_vbus>;
	pinctrl-names = "default";
	pinctrl-0 = <&pinctrl_usbhst1>;
	status = "okay";
};

&usbotg {
	vbus-supply = <&reg_usbotg_vbus>;
	pinctrl-names = "default";
	pinctrl-0 = <&pinctrl_usbotg>;
	status = "okay";
};

&usdhc2 {	/* uSDHC2, TiWi wl1271 */
	pinctrl-names = "default", "state_100mhz", "state_200mhz";
	pinctrl-0 = <&pinctrl_usdhc2>;
	pinctrl-1 = <&pinctrl_usdhc2_100mhz>;
	pinctrl-2 = <&pinctrl_usdhc2_200mhz>;
	bus-width = <4>;
	non-removable;
	vmmc-supply = <&reg_wlan_en>;
	vqmmc-1-8-v;
	cap-power-off-card;
	keep-power-in-suspend;
	status = "okay";

	#address-cells = <1>;
	#size-cells = <0>;
	wlcore: wlcore@2 {
		compatible = "ti,wl1271";
		interrupts-extended = WLAN_IRQ;
		reg = <2>;
		ref-clock-frequency = <38400000>;
	};
};

&usdhc3 {
	pinctrl-names = "default";
	pinctrl-0 = <&pinctrl_usdhc3>;
	bus-width = <4>;
	cd-gpios = SD3_CD;
	vmmc-supply = <&reg_3p3v>;
	status = "okay";
};

&usdhc4 {
	pinctrl-names = "default";
	pinctrl-0 = <&pinctrl_usdhc4>;
	bus-width = <8>;
	non-removable;
	vqmmc-1-8-v;
	vmmc-supply = <&reg_1p8v>;
	keep-power-in-suspend;
	status = "okay";
};
